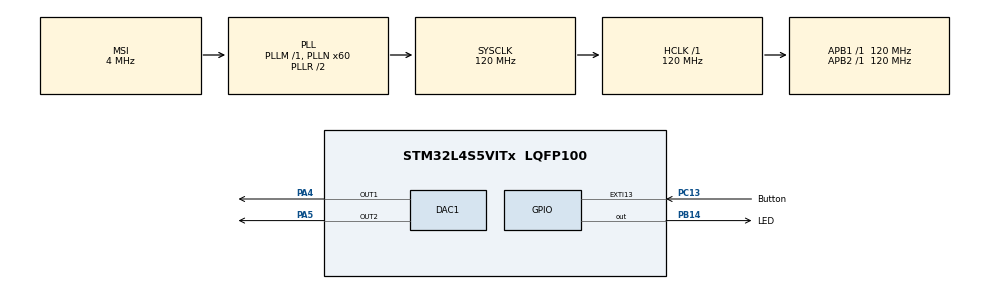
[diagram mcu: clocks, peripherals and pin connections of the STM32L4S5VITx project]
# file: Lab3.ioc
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DAC1.DAC_Channel-DAC_OUT2=DAC_CHANNEL_2
DAC1.DAC_SampleAndHold-DAC_OUT2=DAC_SAMPLEANDHOLD_DISABLE
DAC1.DAC_Trigger-DAC_OUT1=DAC_TRIGGER_T2_TRGO
Dma.DAC1_CH1.0.Direction=DMA_MEMORY_TO_PERIPH
Dma.DAC1_CH1.0.EventEnable=DISABLE
Dma.DAC1_CH1.0.Instance=DMA1_Channel3
Dma.DAC1_CH1.0.MemDataAlignment=DMA_MDATAALIGN_WORD
Dma.DAC1_CH1.0.MemInc=DMA_MINC_ENABLE
Dma.DAC1_CH1.0.Mode=DMA_CIRCULAR
Dma.DAC1_CH1.0.PeriphDataAlignment=DMA_PDATAALIGN_WORD
Dma.DAC1_CH1.0.PeriphInc=DMA_PINC_DISABLE
Dma.DAC1_CH1.0.Polarity=HAL_DMAMUX_REQUEST_GEN_RISING
Dma.DAC1_CH1.0.Priority=DMA_PRIORITY_LOW
Dma.DAC1_CH1.0.RequestNumber=1
Dma.DAC1_CH1.0.SignalID=NONE
Dma.DAC1_CH1.0.SyncEnable=DISABLE
Dma.DAC1_CH1.0.SyncPolarity=HAL_DMAMUX_SYNC_NO_EVENT
Dma.DAC1_CH1.0.SyncRequestNumber=1
Dma.DAC1_CH1.0.SyncSignalID=NONE
Dma.Request0=DAC1_CH1
Mcu.Family=STM32L4
Mcu.Name=STM32L4S5VITx
Mcu.Package=LQFP100
NVIC.DMA1_Channel3_IRQn=true\:0\:0\:false\:false\:true\:false\:true\:true
NVIC.EXTI15_10_IRQn=true\:0\:0\:false\:false\:true\:true\:true\:true
NVIC.PriorityGroup=NVIC_PRIORITYGROUP_4
NVIC.TIM2_IRQn=true\:0\:0\:false\:false\:true\:true\:true\:true
PA13\ (JTMS/SWDIO).Mode=Serial_Wire
PA13\ (JTMS/SWDIO).Signal=SYS_JTMS-SWDIO
PA14\ (JTCK/SWCLK).Mode=Serial_Wire
PA14\ (JTCK/SWCLK).Signal=SYS_JTCK-SWCLK
PA4.Signal=COMP_DAC11_group
PA5.Signal=COMP_DAC12_group
PB14.GPIO_Label=LED
PB14.Signal=GPIO_Output
PC13.GPIO_Label=Button
PC13.Signal=GPXTI13
ProjectManager.HeapSize=0x200
ProjectManager.StackSize=0x400
ProjectManager.TargetToolchain=STM32CubeIDE
RCC.ADCFreq_Value=48000000
RCC.AHBFreq_Value=120000000
RCC.APB1Freq_Value=120000000
RCC.APB1TimFreq_Value=120000000
RCC.APB2Freq_Value=120000000
RCC.APB2TimFreq_Value=120000000
RCC.CortexFreq_Value=120000000
RCC.HCLKFreq_Value=120000000
RCC.HSE_VALUE=8000000
RCC.HSI48_VALUE=48000000
RCC.HSI_VALUE=16000000
RCC.LSE_VALUE=32768
RCC.MSI_VALUE=4000000
RCC.PLLN=60
RCC.PLLSAI1N=24
RCC.SYSCLKFreq_VALUE=120000000
RCC.SYSCLKSource=RCC_SYSCLKSOURCE_PLLCLK
RCC.USBFreq_Value=48000000
RCC.VCOOutputFreq_Value=240000000
SH.COMP_DAC11_group.0=DAC1_OUT1,DAC_OUT1
SH.COMP_DAC12_group.0=DAC1_OUT2,DAC_OUT2
TIM2.Period=2721
TIM2.TIM_MasterOutputTrigger=TIM_TRGO_UPDATE
VP_TIM2_VS_ClockSourceINT.Mode=Internal
board=B-L4S5I-IOT01A

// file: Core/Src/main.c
/* USER CODE BEGIN Header */
/**
  ******************************************************************************
  * @file           : main.c
  * @brief          : Main program body
  ******************************************************************************
  * @attention
  *
  * Copyright (c) 2024 STMicroelectronics.
  * All rights reserved.
  *
  * This software is licensed under terms that can be found in the LICENSE file
  * in the root directory of this software component.
  * If no LICENSE file comes with this software, it is provided AS-IS.
  *
  ******************************************************************************
  */
/* USER CODE END Header */
#include "main.h"

/* USER CODE BEGIN Includes */
#include "arm_math.h"
#include <stdbool.h>
/* USER CODE END Includes */

/* USER CODE BEGIN PD */
#define precision 4095
#define period 15

/* USER CODE END PD */

DAC_HandleTypeDef hdac1;
DMA_HandleTypeDef hdma_dac1_ch1;

TIM_HandleTypeDef htim2;

/* USER CODE BEGIN PV */
bool LEDState;
uint16_t step = precision/period;
int16_t triangular = 0;
int16_t sawtooth = 0;
int8_t direction = 1;
float angle = 0.0f;
float rad_step = PI / (period);
int16_t Asinx;
uint32_t sineValue;

int interruptCounter;
//Sample rate is 44.1kHz & for 1kHz sine wave we need 44.1/1 = 44.1 samples per cycle
int sine1kHzArrayLength = 42;
int32_t sine1kHz[42];
//Sample rate is 44.1kHz & note C6 is 1047Hz so we need 44.1/1.047 = 42.1 samples per cycle
int noteC6ArrayLength = 42;
int32_t noteC6[42];
//Note E6 is 1318Hz so we need 44.1/1.318 = 33.5 samples per cycle
int noteE6ArrayLength = 34;
int32_t noteE6[34];
//Note G6 is 1568Hz so we need 44.1/1.568 = 28.1 samples per cycle
int noteG6ArrayLength = 28;
int32_t noteG6[28];

int32_t* notes[3] = {noteC6, noteE6, noteG6};
int notesArrayLengths[3] = {42, 34, 28};
int buttonCounter=0;
/* USER CODE END PV */

void SystemClock_Config(void);
static void MX_GPIO_Init(void);
static void MX_DMA_Init(void);
static void MX_DAC1_Init(void);
static void MX_TIM2_Init(void);
/* USER CODE BEGIN PFP */
void tri_wave(void);
void sawtth_wave(void);
void sine_wave(void);
/* USER CODE END PFP */

/* USER CODE BEGIN 0 */
void HAL_GPIO_EXTI_Callback(uint16_t GPIO_Pin)
{
	LEDState = !LEDState;
	HAL_GPIO_WritePin(LED_GPIO_Port, LED_Pin, LEDState);

	HAL_DAC_Stop_DMA(&hdac1, DAC_CHANNEL_1);
	HAL_DAC_Start_DMA(&hdac1, DAC1_CHANNEL_1, notes[buttonCounter], notesArrayLengths[buttonCounter], DAC_ALIGN_12B_R);
	buttonCounter = (buttonCounter+1)%3;
}

//void HAL_TIM_PeriodElapsedCallback(TIM_HandleTypeDef* htim){
//	if(htim == &htim2){
//		HAL_DAC_SetValue(&hdac1, DAC_CHANNEL_1, DAC_ALIGN_12B_R, sine1kHz[interruptCounter]);
//		interruptCounter = (interruptCounter+1)%sine1kHzArrayLength;
//	}
//}
/* USER CODE END 0 */

int main(void)
{

  /* USER CODE BEGIN 1 */
	//populating arrays with sine wave values for different note frequencies:
	for(int i=0; i<noteC6ArrayLength; i++){
		float32_t angleRadians = 2.0*PI*((double)i/sine1kHzArrayLength);
		sine1kHz[i] = (int32_t) ((precision/2 * arm_sin_f32(angleRadians))+(precision/2+0.1));
		sineValue = sine1kHz[i];
	}

	for(int i=0; i<noteC6ArrayLength; i++){
		float32_t angleRadians = 2.0*PI*((double)i/noteC6ArrayLength);
		noteC6[i] =(int32_t) (precision/2 * arm_sin_f32(angleRadians))+(precision/2);
		sineValue = noteC6[i];
	}

	for(int i=0; i<noteE6ArrayLength; i++){
		float32_t angleRadians = 2.0*PI*((double)i/noteE6ArrayLength);
		noteE6[i] = (int32_t) (precision/2 * arm_sin_f32(angleRadians))+(precision/2);
		sineValue = noteE6[i];
	}

	for(int i=0; i<noteG6ArrayLength; i++){
		float32_t angleRadians = 2.0*PI*((double)i/noteG6ArrayLength);
		noteG6[i] = (int32_t) (precision/2 * arm_sin_f32(angleRadians))+(precision/2);
		sineValue = noteG6[i];
	}

	void tri_wave(void){
	  	int16_t t = triangular + direction * step ;

	  	if ( t >= precision || t  <= 0){

	  		if(t <= 0) triangular = 0;
	  		else triangular = precision;

	  		direction = -direction;

	  	}else triangular = t;

	  }

	  void sawtth_wave(void){

	  	if(sawtooth == precision) sawtooth = 0;
	  	sawtooth += step;
	  	if ( sawtooth > precision){
	  		sawtooth = precision;
	  	 }

	  }

	  void sine_wave(void){
	  	angle += rad_step;
	  	if (angle > PI) angle = 0;
	  	Asinx = (int)(precision * arm_sin_f32(angle));
	  	if (Asinx > precision) Asinx = precision;
	  }

  /* USER CODE END 1 */

  /* MCU Configuration--------------------------------------------------------*/

  /* Reset of all peripherals, Initializes the Flash interface and the Systick. */
  HAL_Init();

  /* Configure the system clock */
  SystemClock_Config();

  /* Initialize all configured peripherals */
  MX_GPIO_Init();
  MX_DMA_Init();
  MX_DAC1_Init();
  MX_TIM2_Init();
  /* USER CODE BEGIN 2 */
  //HAL_DAC_Start(&hdac1, DAC_CHANNEL_1);
  //HAL_DAC_Start_DMA(&hdac1, DAC1_CHANNEL_1, sine1kHz, sine1kHzArrayLength, DAC_ALIGN_12B_R);
  HAL_TIM_Base_Start_IT(&htim2);
  /* USER CODE END 2 */

  /* Infinite loop */
  /* USER CODE BEGIN WHILE */
  while (1)
  {
	  //part 1:
	  //if(LEDState){
	  		  //tri_wave();
	  		  //HAL_DAC_SetValue(&hdac1, DAC_CHANNEL_1, DAC_ALIGN_12B_R, triangular);
	  		  //HAL_Delay(0.5);
	  		  //tri_wave();
	  		  //HAL_DAC_SetValue(&hdac1, DAC_CHANNEL_1, DAC_ALIGN_12B_R, triangular);
	  		  //sawtth_wave();
	  		  //HAL_DAC_SetValue(&hdac1, DAC_CHANNEL_2, DAC_ALIGN_12B_R, sawtooth);
	  		  //HAL_Delay(0.5);
	  	  //}else{
	  		  //sine_wave();
	  		  //HAL_DAC_SetValue(&hdac1, DAC_CHANNEL_1, DAC_ALIGN_12B_R, Asinx);
	  		  //HAL_DAC_SetValue(&hdac1, DAC_CHANNEL_2, DAC_ALIGN_12B_R, Asinx);
	  		  //sawtth_wave();
	  		  //HAL_DAC_SetValue(&hdac1, DAC_CHANNEL_2, DAC_ALIGN_12B_R, sawtooth);
	  		  //HAL_Delay(1);
	  	  //}
    /* USER CODE END WHILE */

  }
}

void SystemClock_Config(void)
{
  RCC_OscInitTypeDef RCC_OscInitStruct = {0};
  RCC_ClkInitTypeDef RCC_ClkInitStruct = {0};

  /** Configure the main internal regulator output voltage
  */
  if (HAL_PWREx_ControlVoltageScaling(PWR_REGULATOR_VOLTAGE_SCALE1_BOOST) != HAL_OK)
  {
    Error_Handler();
  }

  /** Initializes the RCC Oscillators according to the specified parameters
  * in the RCC_OscInitTypeDef structure.
  */
  RCC_OscInitStruct.OscillatorType = RCC_OSCILLATORTYPE_MSI;
  RCC_OscInitStruct.MSIState = RCC_MSI_ON;
  RCC_OscInitStruct.MSICalibrationValue = 0;
  RCC_OscInitStruct.MSIClockRange = RCC_MSIRANGE_6;
  RCC_OscInitStruct.PLL.PLLState = RCC_PLL_ON;
  RCC_OscInitStruct.PLL.PLLSource = RCC_PLLSOURCE_MSI;
  RCC_OscInitStruct.PLL.PLLM = 1;
  RCC_OscInitStruct.PLL.PLLN = 60;
  RCC_OscInitStruct.PLL.PLLP = RCC_PLLP_DIV2;
  RCC_OscInitStruct.PLL.PLLQ = RCC_PLLQ_DIV2;
  RCC_OscInitStruct.PLL.PLLR = RCC_PLLR_DIV2;
  if (HAL_RCC_OscConfig(&RCC_OscInitStruct) != HAL_OK)
  {
    Error_Handler();
  }

  /** Initializes the CPU, AHB and APB buses clocks
  */
  RCC_ClkInitStruct.ClockType = RCC_CLOCKTYPE_HCLK|RCC_CLOCKTYPE_SYSCLK
                              |RCC_CLOCKTYPE_PCLK1|RCC_CLOCKTYPE_PCLK2;
  RCC_ClkInitStruct.SYSCLKSource = RCC_SYSCLKSOURCE_PLLCLK;
  RCC_ClkInitStruct.AHBCLKDivider = RCC_SYSCLK_DIV1;
  RCC_ClkInitStruct.APB1CLKDivider = RCC_HCLK_DIV1;
  RCC_ClkInitStruct.APB2CLKDivider = RCC_HCLK_DIV1;

  if (HAL_RCC_ClockConfig(&RCC_ClkInitStruct, FLASH_LATENCY_5) != HAL_OK)
  {
    Error_Handler();
  }
}

static void MX_DAC1_Init(void)
{

  DAC_ChannelConfTypeDef sConfig = {0};

  /** DAC Initialization
  */
  hdac1.Instance = DAC1;
  if (HAL_DAC_Init(&hdac1) != HAL_OK)
  {
    Error_Handler();
  }

  /** DAC channel OUT1 config
  */
  sConfig.DAC_SampleAndHold = DAC_SAMPLEANDHOLD_DISABLE;
  sConfig.DAC_Trigger = DAC_TRIGGER_T2_TRGO;
  sConfig.DAC_HighFrequency = DAC_HIGH_FREQUENCY_INTERFACE_MODE_ABOVE_80MHZ;
  sConfig.DAC_OutputBuffer = DAC_OUTPUTBUFFER_ENABLE;
  sConfig.DAC_ConnectOnChipPeripheral = DAC_CHIPCONNECT_DISABLE;
  sConfig.DAC_UserTrimming = DAC_TRIMMING_FACTORY;
  if (HAL_DAC_ConfigChannel(&hdac1, &sConfig, DAC_CHANNEL_1) != HAL_OK)
  {
    Error_Handler();
  }

  /** DAC channel OUT2 config
  */
  sConfig.DAC_Trigger = DAC_TRIGGER_NONE;
  if (HAL_DAC_ConfigChannel(&hdac1, &sConfig, DAC_CHANNEL_2) != HAL_OK)
  {
    Error_Handler();
  }

}

static void MX_TIM2_Init(void)
{

  TIM_ClockConfigTypeDef sClockSourceConfig = {0};
  TIM_MasterConfigTypeDef sMasterConfig = {0};

  htim2.Instance = TIM2;
  htim2.Init.Prescaler = 0;
  htim2.Init.CounterMode = TIM_COUNTERMODE_UP;
  htim2.Init.Period = 2722;
  htim2.Init.ClockDivision = TIM_CLOCKDIVISION_DIV1;
  htim2.Init.AutoReloadPreload = TIM_AUTORELOAD_PRELOAD_DISABLE;
  if (HAL_TIM_Base_Init(&htim2) != HAL_OK)
  {
    Error_Handler();
  }
  sClockSourceConfig.ClockSource = TIM_CLOCKSOURCE_INTERNAL;
  if (HAL_TIM_ConfigClockSource(&htim2, &sClockSourceConfig) != HAL_OK)
  {
    Error_Handler();
  }
  sMasterConfig.MasterOutputTrigger = TIM_TRGO_UPDATE;
  sMasterConfig.MasterSlaveMode = TIM_MASTERSLAVEMODE_DISABLE;
  if (HAL_TIMEx_MasterConfigSynchronization(&htim2, &sMasterConfig) != HAL_OK)
  {
    Error_Handler();
  }

}

static void MX_DMA_Init(void)
{

  /* DMA controller clock enable */
  __HAL_RCC_DMAMUX1_CLK_ENABLE();
  __HAL_RCC_DMA1_CLK_ENABLE();

  /* DMA interrupt init */
  /* DMA1_Channel3_IRQn interrupt configuration */
  HAL_NVIC_SetPriority(DMA1_Channel3_IRQn, 0, 0);
  HAL_NVIC_EnableIRQ(DMA1_Channel3_IRQn);

}

static void MX_GPIO_Init(void)
{
  GPIO_InitTypeDef GPIO_InitStruct = {0};

  /* GPIO Ports Clock Enable */
  __HAL_RCC_GPIOC_CLK_ENABLE();
  __HAL_RCC_GPIOA_CLK_ENABLE();
  __HAL_RCC_GPIOB_CLK_ENABLE();

  /*Configure GPIO pin Output Level */
  HAL_GPIO_WritePin(LED_GPIO_Port, LED_Pin, GPIO_PIN_RESET);

  /*Configure GPIO pin : Button_Pin */
  GPIO_InitStruct.Pin = Button_Pin;
  GPIO_InitStruct.Mode = GPIO_MODE_IT_RISING;
  GPIO_InitStruct.Pull = GPIO_NOPULL;
  HAL_GPIO_Init(Button_GPIO_Port, &GPIO_InitStruct);

  /*Configure GPIO pin : LED_Pin */
  GPIO_InitStruct.Pin = LED_Pin;
  GPIO_InitStruct.Mode = GPIO_MODE_OUTPUT_PP;
  GPIO_InitStruct.Pull = GPIO_NOPULL;
  GPIO_InitStruct.Speed = GPIO_SPEED_FREQ_LOW;
  HAL_GPIO_Init(LED_GPIO_Port, &GPIO_InitStruct);

  /* EXTI interrupt init*/
  HAL_NVIC_SetPriority(EXTI15_10_IRQn, 0, 0);
  HAL_NVIC_EnableIRQ(EXTI15_10_IRQn);

}

void Error_Handler(void)
{
  __disable_irq();
  while (1)
  {
  }
}
